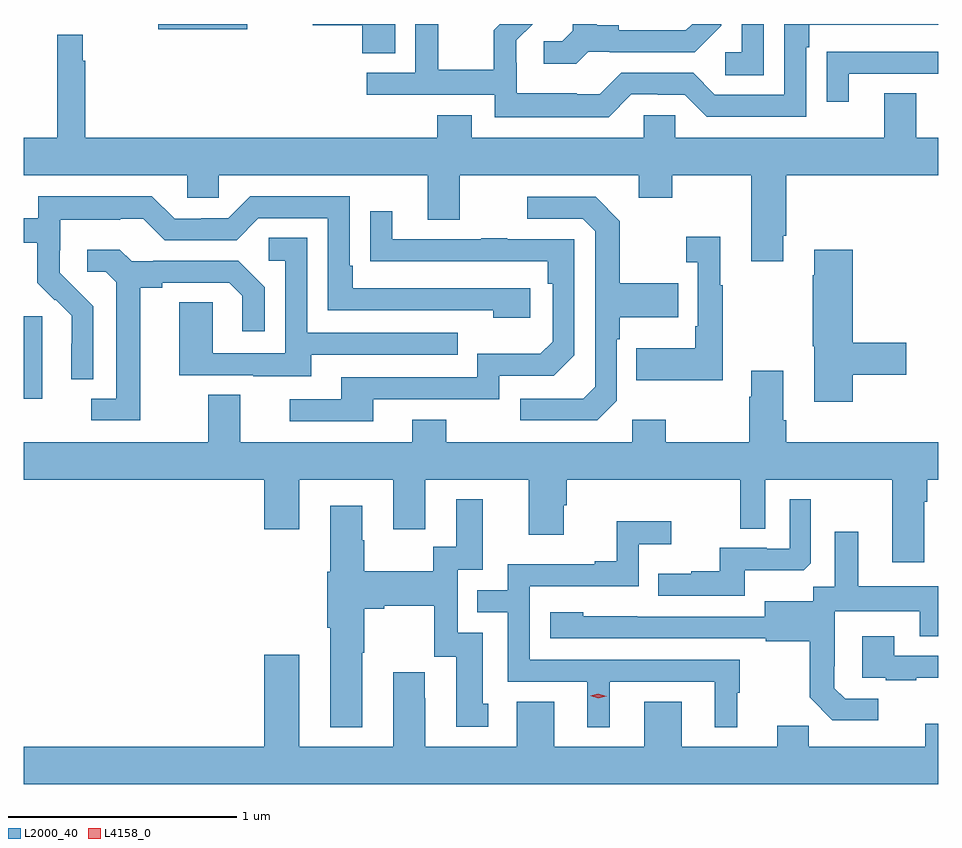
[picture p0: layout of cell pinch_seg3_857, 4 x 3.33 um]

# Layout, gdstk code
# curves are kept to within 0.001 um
import gdstk
lib = gdstk.Library(unit=1e-6, precision=1e-09)
def R(c, l, rs):  # rectangles x0, y0, x1, y1
    for r in rs: c.add(gdstk.rectangle(r[:2], r[2:], *l))
def P(c, l, *ps):  # polygons
    for p in ps: c.add(gdstk.Polygon(p, *l))
L2000_40 = (2000, 40)
L4158_0 = (4158, 0)

pinch_seg3_857 = lib.new_cell('pinch_seg3_857')
R(pinch_seg3_857, L2000_40, [(742.623,683.954,742.702,684.315), (743.21,685.57,743.599,685.594)])
P(pinch_seg3_857, L2000_40, [(745.281,685.287),(745.397,685.287),(745.397,685.284),(745.515,685.284),(745.611,685.188),(746.046,685.188),(746.046,685.493),(746.059,685.493),(746.059,685.59),(746.623,685.59),(746.623,685.594),(745.95,685.594),(745.95,685.284),(745.647,685.284),(745.551,685.38),(745.236,685.38),(745.143,685.287),(745.043,685.287),(745.043,685.291),(744.78,685.291),(744.78,685.425),(744.778,685.425),(744.778,685.522),(744.85,685.594),(744.706,685.594),(744.679,685.567),(744.679,685.393),(744.435,685.393),(744.435,685.594),(744.336,685.594),(744.336,685.38),(744.123,685.38),(744.123,685.284),(744.684,685.284),(744.684,685.187),(745.181,685.187)],
  [(744.247,685.594),(743.886,685.594),(743.886,685.589),(744.104,685.589),(744.104,685.465),(744.247,685.465)],
  [(745.86,685.594),(745.764,685.594),(745.764,685.47),(745.692,685.47),(745.692,685.369),(745.86,685.369)],
  [(745.092,685.473),(745.186,685.473),(745.186,685.47),(745.558,685.47),(745.674,685.586),(745.674,685.594),(745.548,685.594),(745.52,685.566),(745.225,685.566),(745.225,685.589),(745.129,685.589),(745.129,685.594),(745.025,685.594),(745.025,685.565),(744.978,685.518),(744.897,685.518),(744.897,685.421),(745.04,685.421)],
  [(745.945,684.667),(745.958,684.667),(745.958,684.932),(746.623,684.932),(746.623,685.096),(746.527,685.096),(746.527,685.291),(746.387,685.291),(746.387,685.096),(745.473,685.096),(745.473,685.194),(745.335,685.194),(745.335,685.096),(744.583,685.096),(744.583,685.195),(744.431,685.195),(744.431,685.096),(742.891,685.096),(742.891,685.433),(742.88,685.433),(742.88,685.546),(742.769,685.546),(742.769,685.096),(742.623,685.096),(742.623,684.932),(743.337,684.932),(743.337,684.834),(743.475,684.834),(743.475,684.932),(744.389,684.932),(744.389,684.738),(744.529,684.738),(744.529,684.932),(745.313,684.932),(745.313,684.833),(745.461,684.833),(745.461,684.932),(745.805,684.932),(745.805,684.555),(745.945,684.555)],
  [(746.233,685.377),(746.623,685.377),(746.623,685.473),(746.239,685.473),(746.239,685.472),(746.137,685.472),(746.137,685.254),(746.233,685.254)],
  [(742.926,684.358),(742.78,684.506),(742.78,684.603),(742.782,684.603),(742.782,684.737),(743.045,684.737),(743.045,684.741),(743.145,684.741),(743.238,684.648),(743.553,684.648),(743.649,684.744),(743.952,684.744),(743.952,684.342),(744.677,684.342),(744.677,684.308),(744.838,684.308),(744.838,684.438),(744.061,684.438),(744.061,684.535),(744.048,684.535),(744.048,684.84),(743.613,684.84),(743.517,684.744),(743.399,684.744),(743.399,684.741),(743.283,684.741),(743.183,684.841),(742.686,684.841),(742.686,684.744),(742.623,684.744),(742.623,684.636),(742.681,684.636),(742.681,684.461),(742.758,684.384),(742.761,684.387),(742.832,684.317),(742.832,684.194),(742.83,684.194),(742.83,684.04),(742.926,684.04)],
  [(745.218,683.946),(745.218,684.215),(745.231,684.215),(745.231,684.311),(745.487,684.311),(745.487,684.459),(745.231,684.459),(745.231,684.731),(745.125,684.837),(744.825,684.837),(744.825,684.741),(745.068,684.741),(745.122,684.687),(745.122,684.006),(745.071,683.955),(744.795,683.955),(744.795,683.859),(745.131,683.859)],
  [(744.151,683.952),(744.702,683.952),(744.702,684.054),(744.942,684.054),(745.032,684.144),(745.032,684.651),(744.737,684.651),(744.737,684.656),(744.625,684.656),(744.625,684.651),(744.235,684.651),(744.235,684.775),(744.139,684.775),(744.139,684.556),(744.916,684.555),(744.916,684.458),(744.936,684.458),(744.936,684.204),(744.883,684.151),(744.606,684.151),(744.606,684.048),(744.011,684.048),(744.011,683.952),(743.787,683.952),(743.787,683.856),(744.151,683.856)],
  [(745.681,684.451),(745.669,684.451),(745.669,684.664),(745.521,684.664),(745.521,684.551),(745.572,684.551),(745.572,684.271),(745.56,684.271),(745.56,684.175),(745.303,684.175),(745.303,684.035),(745.681,684.035)],
  [(743.881,684.147),(744.521,684.147),(744.521,684.243),(743.862,684.243),(743.862,684.659),(743.694,684.659),(743.694,684.558),(743.766,684.558),(743.766,684.153),(743.448,684.153),(743.448,684.377),(743.303,684.377),(743.303,684.057),(743.627,684.057),(743.627,684.053),(743.881,684.053)],
  [(743.131,684.44),(743.227,684.44),(743.227,684.462),(743.522,684.462),(743.579,684.405),(743.579,684.249),(743.676,684.249),(743.676,684.442),(743.56,684.558),(743.188,684.558),(743.188,684.555),(743.094,684.555),(743.042,684.607),(742.899,684.607),(742.899,684.51),(742.98,684.51),(743.027,684.463),(743.027,683.955),(742.917,683.955),(742.917,683.859),(743.131,683.859)],
  [(746.249,684.058),(746.485,684.058),(746.485,684.2),(746.249,684.2),(746.249,684.607),(746.081,684.607),(746.081,684.494),(746.074,684.494),(746.074,684.183),(746.081,684.183),(746.081,683.94),(746.249,683.94)],
  [(746.563,683.504),(746.576,683.504),(746.576,683.6),(746.623,683.6),(746.623,683.764),(745.958,683.764),(745.958,683.86),(745.945,683.86),(745.945,684.076),(745.805,684.076),(745.805,683.963),(745.798,683.963),(745.798,683.764),(745.431,683.764),(745.431,683.863),(745.284,683.863),(745.284,683.764),(744.471,683.764),(744.471,683.863),(744.323,683.863),(744.323,683.764),(743.569,683.764),(743.569,683.972),(743.429,683.972),(743.429,683.764),(742.623,683.764),(742.623,683.6),(743.675,683.6),(743.675,683.382),(743.827,683.382),(743.827,683.6),(744.239,683.6),(744.239,683.382),(744.379,683.382),(744.379,683.6),(744.833,683.6),(744.833,683.358),(744.985,683.358),(744.985,683.487),(744.998,683.487),(744.998,683.6),(745.758,683.6),(745.758,683.386),(745.866,683.386),(745.866,683.6),(746.423,683.6),(746.423,683.238),(746.563,683.238)],
  [(745.777,683.204),(746.035,683.204),(746.067,683.235),(746.067,683.515),(745.974,683.515),(745.974,683.298),(745.874,683.298),(745.874,683.301),(745.667,683.301),(745.667,683.2),(745.543,683.2),(745.543,683.188),(745.399,683.188),(745.399,683.091),(745.777,683.091)],
  [(744.103,682.843),(744.111,682.843),(744.111,683.036),(744.199,683.036),(744.199,683.048),(744.419,683.048),(744.419,682.824),(744.515,682.824),(744.515,682.518),(744.655,682.518),(744.655,682.62),(744.631,682.62),(744.631,682.929),(744.522,682.929),(744.522,683.205),(744.631,683.205),(744.631,683.515),(744.515,683.515),(744.515,683.306),(744.414,683.306),(744.414,683.2),(744.111,683.2),(744.111,683.334),(744.103,683.334),(744.103,683.485),(743.963,683.485),(743.963,683.196),(743.951,683.196),(743.951,682.952),(743.963,682.952),(743.963,682.517),(744.103,682.517)],
  [(745.186,682.716),(745.646,682.716),(745.646,682.517),(745.744,682.517),(745.744,682.668),(745.756,682.668),(745.756,682.812),(744.837,682.812),(744.837,683.133),(745.314,683.133),(745.314,683.318),(745.456,683.318),(745.456,683.417),(745.216,683.417),(745.216,683.242),(745.121,683.242),(745.121,683.229),(744.741,683.229),(744.741,683.115),(744.607,683.115),(744.607,683.019),(744.741,683.019),(744.741,682.716),(745.088,682.716),(745.088,682.517),(745.186,682.517)],
  [(746.362,682.641),(746.217,682.641),(746.17,682.688),(746.17,682.783),(746.172,682.783),(746.172,683.024),(746.543,683.024),(746.543,682.915),(746.623,682.915),(746.623,683.134),(746.275,683.134),(746.275,683.371),(746.171,683.371),(746.171,683.132),(746.076,683.132),(746.076,683.068),(745.865,683.068),(745.865,683.001),(745.071,683.002),(745.071,683.02),(744.927,683.02),(744.927,682.905),(745.869,682.905),(745.869,682.893),(746.061,682.893),(746.061,682.647),(746.161,682.547),(746.362,682.547)],
  [(746.527,682.733),(746.623,682.733),(746.623,682.83),(746.431,682.83),(746.431,682.915),(746.291,682.915),(746.291,682.734),(746.395,682.734),(746.395,682.722),(746.527,682.722)],
  [(746.623,682.531),(746.567,682.531),(746.567,682.432),(746.057,682.432),(746.057,682.523),(745.919,682.523),(745.919,682.432),(745.501,682.432),(745.501,682.627),(745.337,682.627),(745.337,682.432),(744.943,682.432),(744.943,682.627),(744.779,682.627),(744.779,682.432),(744.379,682.432),(744.379,682.643),(744.376,682.643),(744.376,682.756),(744.239,682.756),(744.239,682.432),(743.827,682.432),(743.827,682.834),(743.675,682.834),(743.675,682.432),(742.623,682.432),(742.623,682.268),(746.623,682.268)])
P(pinch_seg3_857, L4158_0, [(745.137,682.643),(745.102,682.654),(745.101,682.655),(745.102,682.655),(745.137,682.663),(745.172,682.653),(745.173,682.652),(745.172,682.652)])

lib.write_gds('pinch_seg3_857.gds')
